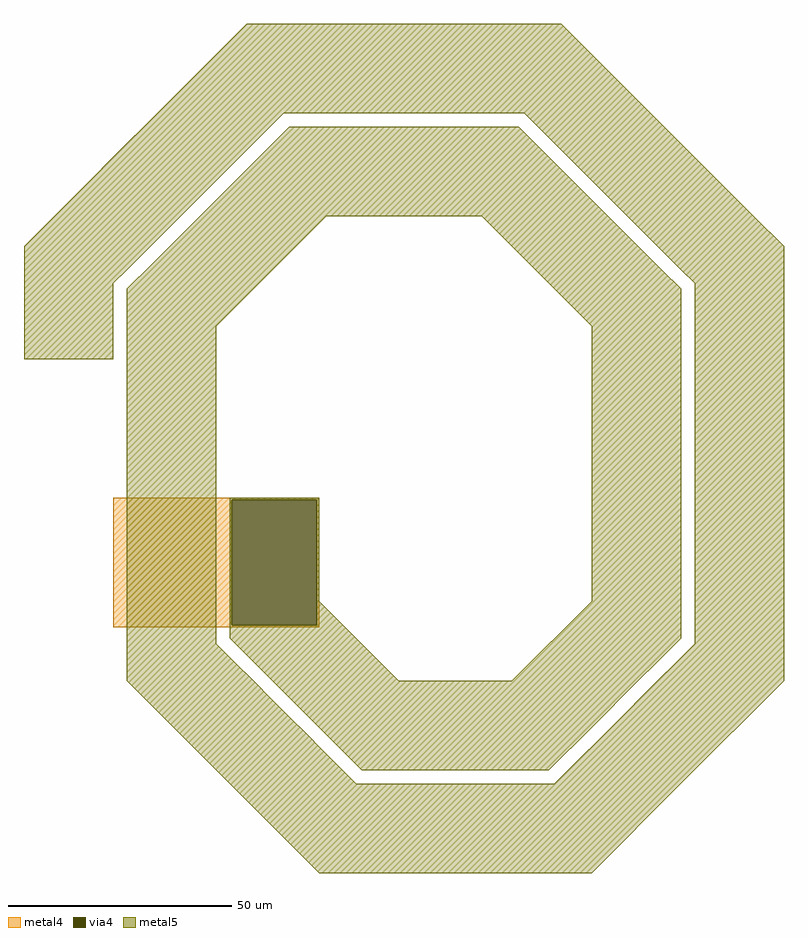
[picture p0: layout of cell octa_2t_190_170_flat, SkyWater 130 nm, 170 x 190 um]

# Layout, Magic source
magic
tech sky130B
magscale 1 2
<< metal4 >>
rect -35400 -22300 -26200 -22200
rect -35400 -27900 -30100 -22300
rect -26300 -27900 -26200 -22300
rect -35400 -28000 -26200 -27900
<< via4 >>
rect -30100 -27900 -26300 -22300
<< metal5 >>
tri -33442 -5000 -29442 -1000 se
rect -29442 -5000 -15358 -1000
tri -15358 -5000 -11358 -1000 sw
tri -35400 -6958 -33442 -5000 se
rect -33442 -5600 -28385 -5000
tri -28385 -5600 -27785 -5000 nw
tri -17015 -5600 -16415 -5000 ne
rect -16415 -5600 -11358 -5000
rect -33442 -6449 -29234 -5600
tri -29234 -6449 -28385 -5600 nw
tri -28385 -6449 -27536 -5600 se
rect -27536 -6449 -17264 -5600
tri -17264 -6449 -16415 -5600 sw
tri -16415 -6449 -15566 -5600 ne
rect -15566 -6449 -11358 -5600
rect -33442 -6958 -29951 -6449
tri -36457 -8015 -35400 -6958 se
rect -35400 -7166 -29951 -6958
tri -29951 -7166 -29234 -6449 nw
tri -29102 -7166 -28385 -6449 se
rect -28385 -7166 -16415 -6449
rect -35400 -8015 -30800 -7166
tri -30800 -8015 -29951 -7166 nw
tri -29951 -8015 -29102 -7166 se
rect -29102 -7298 -16415 -7166
tri -16415 -7298 -15566 -6449 sw
tri -15566 -7298 -14717 -6449 ne
rect -14717 -7298 -11358 -6449
rect -29102 -7902 -15566 -7298
tri -15566 -7902 -14962 -7298 sw
tri -14717 -7902 -14113 -7298 ne
rect -14113 -7902 -11358 -7298
rect -29102 -8015 -14962 -7902
tri -39400 -10958 -36457 -8015 se
rect -36457 -8864 -31649 -8015
tri -31649 -8864 -30800 -8015 nw
tri -30800 -8864 -29951 -8015 se
rect -29951 -8751 -14962 -8015
tri -14962 -8751 -14113 -7902 sw
tri -14113 -8751 -13264 -7902 ne
rect -13264 -8751 -11358 -7902
rect -29951 -8864 -14113 -8751
rect -36457 -9600 -32385 -8864
tri -32385 -9600 -31649 -8864 nw
tri -31536 -9600 -30800 -8864 se
rect -30800 -9600 -14113 -8864
tri -14113 -9600 -13264 -8751 sw
tri -13264 -9600 -12415 -8751 ne
rect -12415 -9600 -11358 -8751
tri -11358 -9600 -6758 -5000 sw
rect -36457 -10449 -33234 -9600
tri -33234 -10449 -32385 -9600 nw
tri -32385 -10449 -31536 -9600 se
rect -31536 -10449 -30800 -9600
rect -36457 -10958 -33936 -10449
rect -39400 -11151 -33936 -10958
tri -33936 -11151 -33234 -10449 nw
tri -33087 -11151 -32385 -10449 se
rect -32385 -11151 -30800 -10449
rect -39400 -12000 -34785 -11151
tri -34785 -12000 -33936 -11151 nw
tri -33936 -12000 -33087 -11151 se
rect -33087 -12000 -30800 -11151
rect -39400 -16000 -35400 -12000
tri -35400 -12615 -34785 -12000 nw
tri -34551 -12615 -33936 -12000 se
rect -33936 -12615 -30800 -12000
tri -34800 -12864 -34551 -12615 se
rect -34551 -12864 -30800 -12615
rect -34800 -29332 -30800 -12864
tri -30800 -14521 -25879 -9600 nw
tri -18921 -14521 -14000 -9600 ne
rect -14000 -10449 -13264 -9600
tri -13264 -10449 -12415 -9600 sw
tri -12415 -10449 -11566 -9600 ne
rect -11566 -10449 -6758 -9600
rect -14000 -11166 -12415 -10449
tri -12415 -11166 -11698 -10449 sw
tri -11566 -11166 -10849 -10449 ne
rect -10849 -10958 -6758 -10449
tri -6758 -10958 -5400 -9600 sw
rect -10849 -11166 -5400 -10958
rect -14000 -12015 -11698 -11166
tri -11698 -12015 -10849 -11166 sw
tri -10849 -12015 -10000 -11166 ne
rect -10000 -12015 -5400 -11166
rect -14000 -12864 -10849 -12015
tri -10849 -12864 -10000 -12015 sw
tri -10000 -12615 -9400 -12015 ne
rect -30200 -22300 -26200 -22200
rect -30200 -27900 -30100 -22300
rect -26300 -27900 -26200 -22300
rect -30200 -28484 -26200 -27900
tri -30800 -29332 -30200 -28732 sw
tri -30200 -29332 -29352 -28484 ne
rect -29352 -29332 -26200 -28484
rect -34800 -29552 -30200 -29332
tri -30200 -29552 -29980 -29332 sw
tri -29352 -29552 -29132 -29332 ne
rect -29132 -29552 -26200 -29332
rect -34800 -30389 -29980 -29552
tri -34800 -35000 -30189 -30389 ne
rect -30189 -30400 -29980 -30389
tri -29980 -30400 -29132 -29552 sw
tri -29132 -30400 -28284 -29552 ne
rect -28284 -30400 -26200 -29552
tri -26200 -30400 -22627 -26827 sw
tri -17573 -30400 -14000 -26827 se
rect -14000 -28484 -10000 -12864
rect -14000 -29332 -10848 -28484
tri -10848 -29332 -10000 -28484 nw
tri -10000 -29332 -9400 -28732 se
rect -9400 -29332 -5400 -12015
rect -14000 -29552 -11068 -29332
tri -11068 -29552 -10848 -29332 nw
tri -10220 -29552 -10000 -29332 se
rect -10000 -29552 -5400 -29332
rect -14000 -30400 -11916 -29552
tri -11916 -30400 -11068 -29552 nw
tri -11068 -30400 -10220 -29552 se
rect -10220 -30389 -5400 -29552
rect -10220 -30400 -10011 -30389
rect -30189 -31248 -29132 -30400
tri -29132 -31248 -28284 -30400 sw
tri -28284 -31248 -27436 -30400 ne
rect -27436 -31248 -12764 -30400
tri -12764 -31248 -11916 -30400 nw
tri -11916 -31248 -11068 -30400 se
rect -11068 -31248 -10011 -30400
rect -30189 -32096 -28284 -31248
tri -28284 -32096 -27436 -31248 sw
tri -27436 -32096 -26588 -31248 ne
rect -26588 -31636 -13152 -31248
tri -13152 -31636 -12764 -31248 nw
tri -12304 -31636 -11916 -31248 se
rect -11916 -31636 -10011 -31248
rect -26588 -32096 -14000 -31636
rect -30189 -32704 -27436 -32096
tri -27436 -32704 -26828 -32096 sw
tri -26588 -32704 -25980 -32096 ne
rect -25980 -32484 -14000 -32096
tri -14000 -32484 -13152 -31636 nw
tri -13152 -32484 -12304 -31636 se
rect -12304 -32484 -10011 -31636
rect -25980 -32704 -14848 -32484
rect -30189 -33552 -26828 -32704
tri -26828 -33552 -25980 -32704 sw
tri -25980 -33552 -25132 -32704 ne
rect -25132 -33332 -14848 -32704
tri -14848 -33332 -14000 -32484 nw
tri -14000 -33332 -13152 -32484 se
rect -13152 -33332 -10011 -32484
rect -25132 -33552 -15068 -33332
tri -15068 -33552 -14848 -33332 nw
tri -14220 -33552 -14000 -33332 se
rect -14000 -33552 -10011 -33332
rect -30189 -34400 -25980 -33552
tri -25980 -34400 -25132 -33552 sw
tri -25132 -34400 -24284 -33552 ne
rect -24284 -34400 -15916 -33552
tri -15916 -34400 -15068 -33552 nw
tri -15068 -34400 -14220 -33552 se
rect -14220 -34400 -10011 -33552
rect -30189 -35000 -25132 -34400
tri -25132 -35000 -24532 -34400 sw
tri -15668 -35000 -15068 -34400 se
rect -15068 -35000 -10011 -34400
tri -10011 -35000 -5400 -30389 nw
tri -30189 -39000 -26189 -35000 ne
rect -26189 -39000 -14011 -35000
tri -14011 -39000 -10011 -35000 nw
<< end >>
